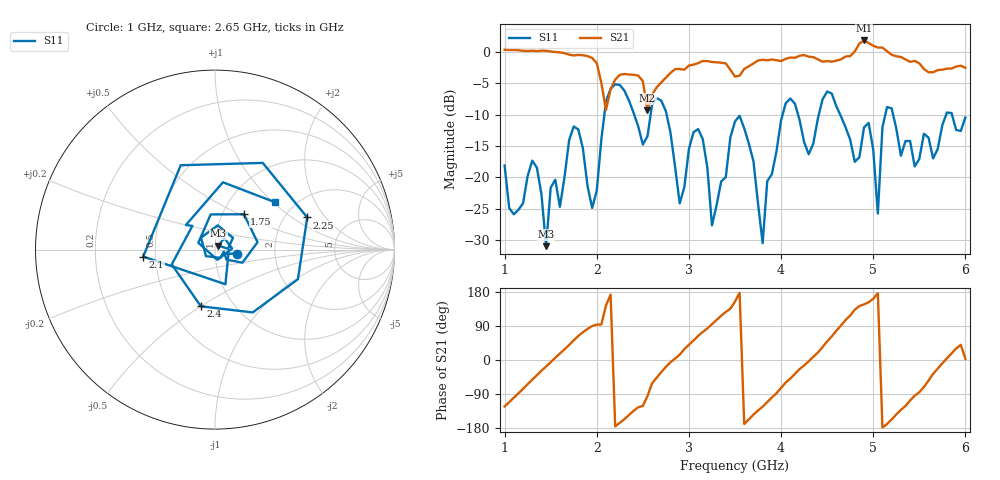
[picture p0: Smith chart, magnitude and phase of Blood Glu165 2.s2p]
! NanoVNA-App
! Date: 2024-03-21 00:33:58
! Start: 1GHz Stop: 6GHz Points: 101
! S-Parameter data: F S11 S21 S12 S22
# Hz S RI R 50
!	Frequency	S11_Real	S11_Imag	S21_Real	S21_Imag	S12_Real	S12_Imag	S22_Real	S22_Imag
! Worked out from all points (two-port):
!   101 points, 1 GHz to 6 GHz, reference 50 ohm
!   highest |S21| = 1.81 dB at 4.9 GHz (marker M1); lowest = -9.3 dB at 2.55 GHz (marker M2)
!   |S21| within 3 dB of the highest: start of sweep to 1.963 GHz; 4.652 GHz to 5.348 GHz (696.1 MHz wide, 13.9 % of centre)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
!   lowest |S11| = -31.0 dB at 1.45 GHz (marker M3), VSWR 1.06, Z = 51.8 + j2.29 ohm
!   |S11| at or under -10 dB: start of sweep to 2.083 GHz; 2.758 GHz to 4.017 GHz (1.259 GHz wide, 37.2 % of centre); 5.215 GHz to 5.792 GHz (576.2 MHz wide, 10.5 % of centre)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
!   S12 and S22 are empty: the file has one direction only
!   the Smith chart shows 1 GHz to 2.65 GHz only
!   S11 on the Smith chart (normalised r, x): 1 GHz: 1.28, -0.06; 1.75 GHz: 1.26, +0.53; 2.1 GHz: 0.43, -0.04; 2.25 GHz: 2.62, +1.33; 2.4 GHz: 0.71, -0.50; 2.65 GHz: 1.61, +1.03
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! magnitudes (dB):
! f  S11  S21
! 1 GHz  -18.1  0.3
! 1.45 GHz  -31.0  0.2
! 1.75 GHz  -11.9  -0.6
! 1.85 GHz  -15.4  -0.5
! 1.95 GHz  -24.9  -1.0
! 2.1 GHz  -7.9  -9.3
! 2.25 GHz  -5.3  -3.7
! 2.4 GHz  -9.7  -3.7
! 2.55 GHz  -13.5  -9.3
! 2.65 GHz  -7.4  -5.7
! 2.7 GHz  -7.8  -4.9
! 2.9 GHz  -24.1  -2.7
! 3.15 GHz  -13.9  -1.5
! 3.25 GHz  -27.7  -1.6
! 3.5 GHz  -11.1  -3.9
! 3.8 GHz  -30.5  -1.3
! 4.05 GHz  -8.2  -1.1
! 4.35 GHz  -14.6  -0.8
! 4.9 GHz  -12.0  1.8
! 5.05 GHz  -25.8  0.7
! 5.2 GHz  -9.0  -0.5
! 6 GHz  -10.5  -2.5
